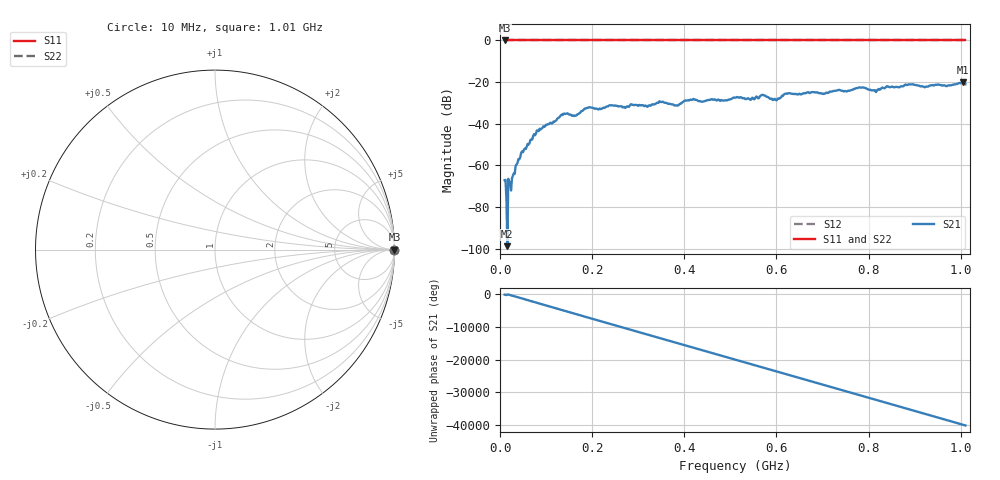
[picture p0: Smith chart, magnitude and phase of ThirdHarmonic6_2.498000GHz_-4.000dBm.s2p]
! 8/17/2025 4:46:13 AM
! C:\ANRITSUVNA\TEMP\TEMP.S2P
! CHANNEL.1
! TR.MEASUREMENT
! RAW.DATA
! RF.CORRECTION.OFF
! AVERAGING.OFF
! IF.BANDWIDTH: 5KHZ
! SWEEPTYPE:  FREQ.SWEEP(Linear)
! Reference Plane Port Info
! PORT:  PORT1  PORT2
! DISTANCE:  0  m  0  m
! TIME:  0  s  0  s
! PHASE.OFFSET:  0  deg.  0  deg.
! LOSS:  0  dB  0  dB
! REF.LOSS:  0  dB  0  dB
! REF.FREQ:  0  Hz  0  Hz
! Power Info
! POWER:  -20  dBm  -20  dBm
! EFF.POWER:  -20  dBm  -20  dBm
! SOURCE.ATTEN:  0  dB  0  dB
! TEST.ATTEN:  0  dB  0  dB
# GHZ S RI R 50.0
! FREQ.GHZ  S11RE  S11IM  S21RE  S21IM  S12RE  S12IM  S22RE  S22IM
!; PortSelection: Port_12
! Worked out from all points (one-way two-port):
!   501 points, 10 MHz to 1.01 GHz, reference 50 ohm
!   highest |S21| = -20.20 dB at 1.004 GHz (marker M1); lowest = -98.9 dB at 16 MHz (marker M2)
!   lowest |S11| = 0.0 dB at 10 MHz (marker M3)
!   |S11| at or under -10 dB: nowhere
!   |S22| runs from 0.0 to 0.0 dB; largest |S21 - S12| = 1.1
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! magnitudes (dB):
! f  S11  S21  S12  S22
! 10 MHz  0.0  -67.2  0.0  0.0
! 12 MHz  0.0  -67.0  0.0  0.0
! 16 MHz  0.0  -98.9  0.0  0.0
! 20 MHz  0.0  -68.6  0.0  0.0
! 22 MHz  0.0  -68.1  0.0  0.0
! 28 MHz  0.0  -65.0  0.0  0.0
! 44 MHz  0.0  -56.0  0.0  0.0
! 78 MHz  0.0  -44.7  0.0  0.0
! 136 MHz  0.0  -35.8  0.0  0.0
! 162 MHz  0.0  -36.1  0.0  0.0
! 178 MHz  0.0  -33.9  0.0  0.0
! 344 MHz  0.0  -30.0  0.0  0.0
! 382 MHz  0.0  -31.2  0.0  0.0
! 416 MHz  0.0  -28.6  0.0  0.0
! 510 MHz  0.0  -27.5  0.0  0.0
! 570 MHz  0.0  -26.2  0.0  0.0
! 596 MHz  0.0  -28.1  0.0  0.0
! 622 MHz  0.0  -25.5  0.0  0.0
! 678 MHz  0.0  -24.8  0.0  0.0
! 844 MHz  0.0  -22.3  0.0  0.0
! 1.004 GHz  0.0  -20.2  0.0  0.0
! 1.01 GHz  0.0  -21.0  0.0  0.0
